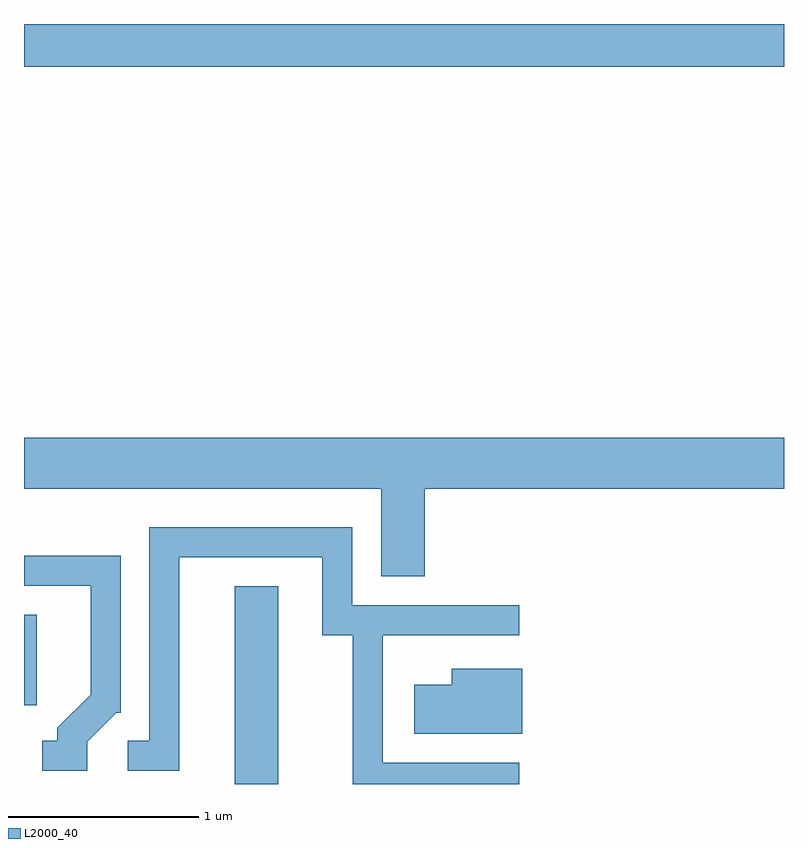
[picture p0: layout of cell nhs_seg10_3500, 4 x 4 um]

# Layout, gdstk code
import gdstk
lib = gdstk.Library(unit=1e-6, precision=1e-09)
def R(c, l, rs):  # rectangles x0, y0, x1, y1
    for r in rs: c.add(gdstk.rectangle(r[:2], r[2:], *l))
def P(c, l, *ps):  # polygons
    for p in ps: c.add(gdstk.Polygon(p, *l))
L2000_40 = (2000, 40)

nhs_seg10_3500 = lib.new_cell('nhs_seg10_3500')
R(nhs_seg10_3500, L2000_40, [(288.721,2174.522,288.949,2175.564), (287.611,2174.936,287.679,2175.414), (287.611,2178.296,291.611,2178.522)])
P(nhs_seg10_3500, L2000_40, [(289.719,2176.076),(291.611,2176.076),(291.611,2176.344),(287.611,2176.344),(287.611,2176.076),(289.491,2176.076),(289.491,2175.616),(289.719,2175.616)],
  [(290.218,2174.634),(289.499,2174.634),(289.499,2175.306),(290.218,2175.306),(290.218,2175.464),(289.339,2175.464),(289.339,2175.874),(288.271,2175.874),(288.271,2174.749),(288.158,2174.749),(288.158,2174.591),(288.429,2174.591),(288.429,2175.716),(289.181,2175.716),(289.181,2175.306),(289.341,2175.306),(289.341,2174.522),(290.218,2174.522)],
  [(287.944,2174.744),(288.097,2174.896),(288.119,2174.896),(288.119,2175.724),(287.611,2175.724),(287.611,2175.566),(287.961,2175.566),(287.961,2174.992),(287.786,2174.817),(287.786,2174.749),(287.708,2174.749),(287.708,2174.591),(287.944,2174.591)],
  [(290.234,2175.129),(289.861,2175.129),(289.861,2175.044),(289.666,2175.044),(289.666,2174.786),(290.234,2174.786)])

lib.write_gds('nhs_seg10_3500.gds')
